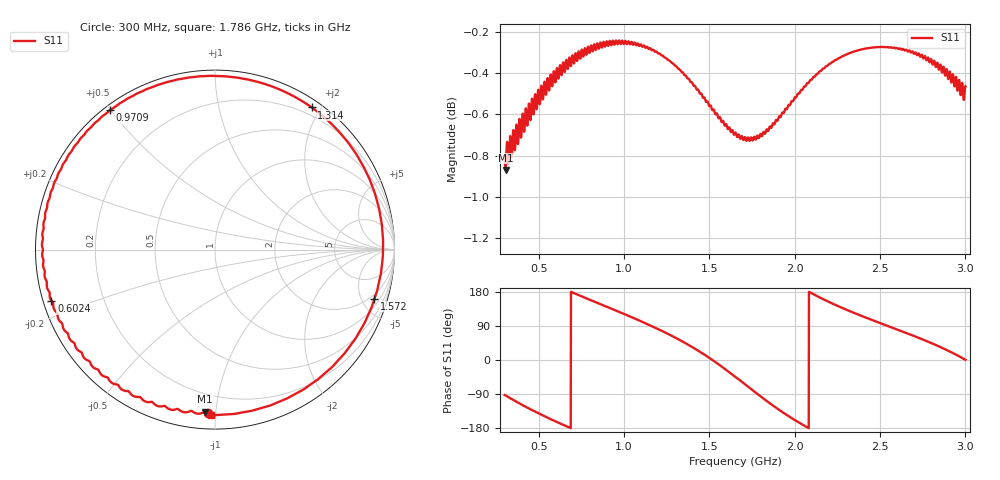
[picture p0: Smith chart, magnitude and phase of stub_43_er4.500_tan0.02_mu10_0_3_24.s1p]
! Chirptenna · simulación 3D de un stub abierto
# HZ S RI R 50
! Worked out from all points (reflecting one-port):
!   2001 points, 300 MHz to 3 GHz, reference 50 ohm
!   lowest |S11| = -0.9 dB at 305.4 MHz (marker M1), VSWR 19.98, Z = 4.7 - j46.8 ohm
!   phase of S11 starts at -92 deg and turns -627 deg over the sweep
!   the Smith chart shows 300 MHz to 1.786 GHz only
!   S11 on the Smith chart (normalised r, x): 300 MHz: 0.09, -0.95; 602.4 MHz: 0.02, -0.15; 971 MHz: 0.02, +0.50; 1.314 GHz: 0.10, +1.89; 1.572 GHz: 1.57, -6.27; 1.786 GHz: 0.08, -0.97
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3e8  -0.0394 -0.911
3.054e8  -0.0559 -0.9029
3.783e8  -0.3501 -0.8485
4.7145e8  -0.6539 -0.6674
6.024e8  -0.911 -0.2856
6.375e8  -0.9412 -0.1707
7.968e8  -0.9039 0.3407
9.7095e8  -0.5844 0.7776
9.75e8  -0.5727 0.7851
1.15455e9  -0.0183 0.9682
1.23555e9  0.2684 0.9255
1.3125e9  0.5342 0.7952
1.31385e9  0.5386 0.792
1.4583e9  0.8979 0.2877
1.5717e9  0.8882 -0.2733
1.65e9  0.67 -0.6356
1.7202e9  0.3433 -0.8535
1.78635e9  -0.0215 -0.9211
1.8768e9  -0.487 -0.7903
1.9875e9  -0.8521 -0.3971
2.0604e9  -0.9435 -0.0915
2.136e9  -0.9316 0.2093
2.325e9  -0.6011 0.7562
2.4924e9  -0.1478 0.9578
2.6625e9  0.3352 0.9067
2.8245e9  0.7357 0.6149
2.919e9  0.8922 0.3268
3e9  0.9481 0.0075
